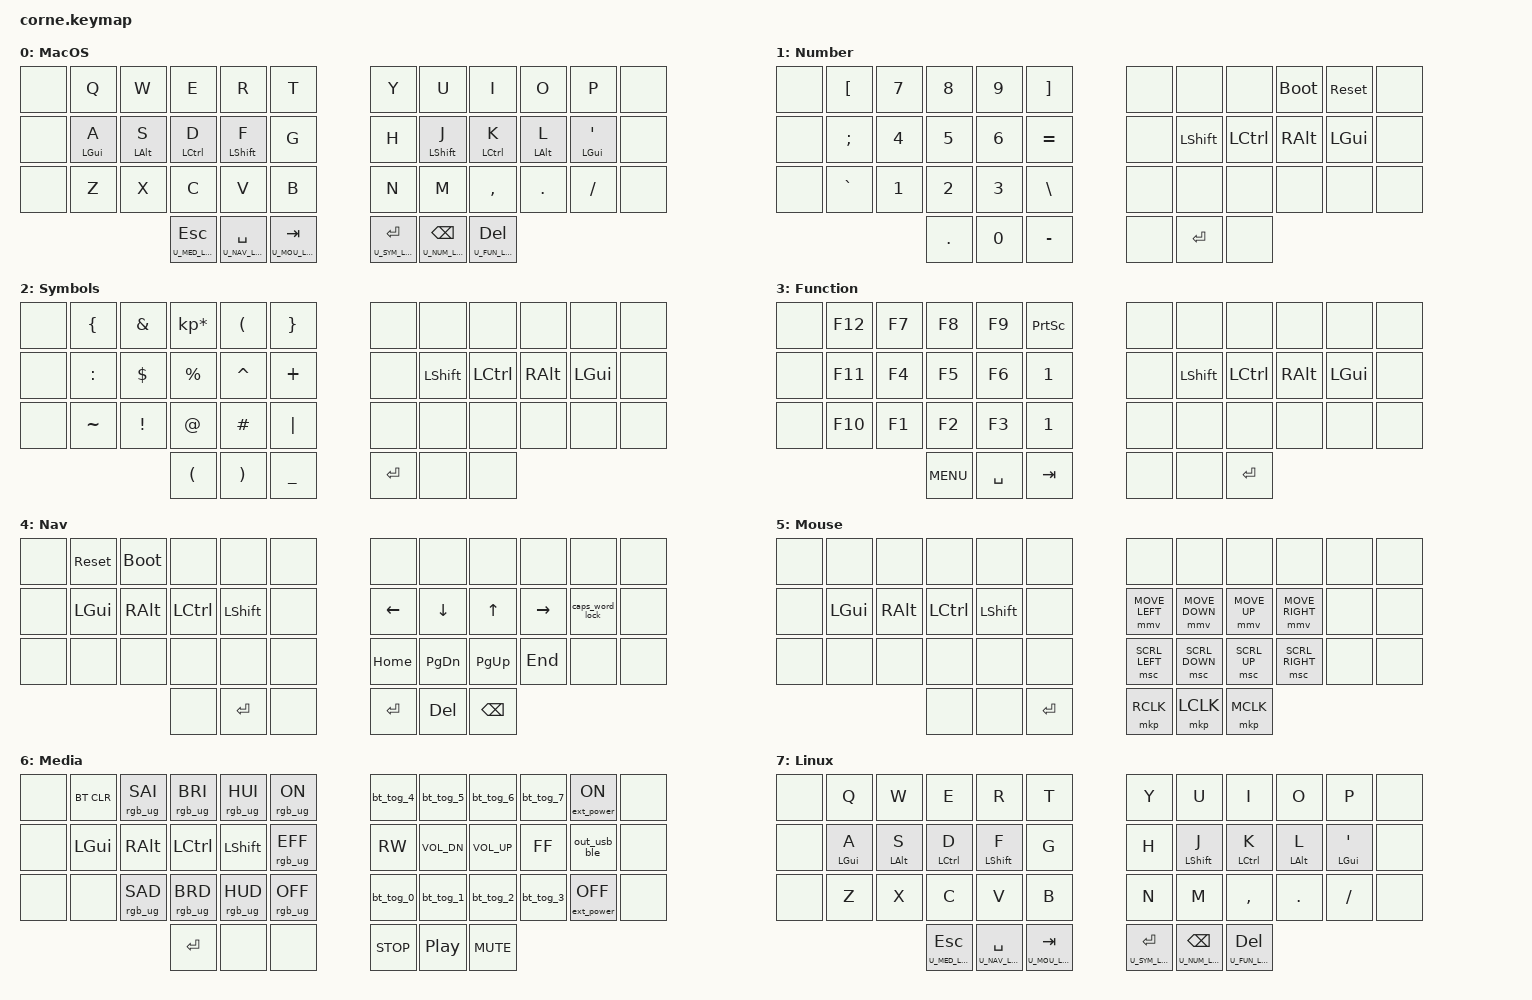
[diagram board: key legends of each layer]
/*
 * Copyright (c) 2020 The ZMK Contributors
 *
 * SPDX-License-Identifier: MIT
 */

#include <behaviors.dtsi>
#include <dt-bindings/zmk/keys.h>
#include <dt-bindings/zmk/bt.h>
#include <dt-bindings/zmk/backlight.h>

#define ZMK_POINTING_DEFAULT_MOVE_VAL 1500
#define ZMK_POINTING_DEFAULT_SCRL_VAL 20

#include <dt-bindings/zmk/pointing.h>
#include <dt-bindings/zmk/outputs.h>
#include <dt-bindings/zmk/ext_power.h>
#include <dt-bindings/zmk/rgb.h>

&led_strip {
    chain-length = <27>;
};

#define U_BAS_LAYER 0
#define U_NUM_LAYER 1
#define U_SYM_LAYER 2
#define U_FUN_LAYER 3
#define U_NAV_LAYER 4
#define U_MOU_LAYER 5
#define U_MED_LAYER 6
#define U_LINUX_LAYER 7

/ {
    behaviors {
        bt_tog_0: bt_tog_0 {
            compatible = "zmk,behavior-mod-morph";
            #binding-cells = <0>;
            bindings = <&bt BT_SEL 0>, <&bt BT_DISC 0>;
            mods = <(MOD_LSFT|MOD_RSFT)>;
        };
        bt_tog_1: bt_tog_1 {
            compatible = "zmk,behavior-mod-morph";
            #binding-cells = <0>;
            bindings = <&bt BT_SEL 1>, <&bt BT_DISC 1>;
            mods = <(MOD_LSFT|MOD_RSFT)>;
        };
        bt_tog_2: bt_tog_2 {
            compatible = "zmk,behavior-mod-morph";
            #binding-cells = <0>;
            bindings = <&bt BT_SEL 2>, <&bt BT_DISC 2>;
            mods = <(MOD_LSFT|MOD_RSFT)>;
        };
        bt_tog_3: bt_tog_3 {
            compatible = "zmk,behavior-mod-morph";
            #binding-cells = <0>;
            bindings = <&bt BT_SEL 3>, <&bt BT_DISC 3>;
            mods = <(MOD_LSFT|MOD_RSFT)>;
        };
        bt_tog_4: bt_tog_4 {
            compatible = "zmk,behavior-mod-morph";
            #binding-cells = <0>;
            bindings = <&bt BT_SEL 4>, <&bt BT_DISC 4>;
            mods = <(MOD_LSFT|MOD_RSFT)>;
        };
        bt_tog_5: bt_tog_5 {
            compatible = "zmk,behavior-mod-morph";
            #binding-cells = <0>;
            bindings = <&bt BT_SEL 5>, <&bt BT_DISC 5>;
            mods = <(MOD_LSFT|MOD_RSFT)>;
        };
        bt_tog_6: bt_tog_6 {
            compatible = "zmk,behavior-mod-morph";
            #binding-cells = <0>;
            bindings = <&bt BT_SEL 6>, <&bt BT_DISC 6>;
            mods = <(MOD_LSFT|MOD_RSFT)>;
        };
        bt_tog_7: bt_tog_7 {
            compatible = "zmk,behavior-mod-morph";
            #binding-cells = <0>;
            bindings = <&bt BT_SEL 7>, <&bt BT_DISC 7>;
            mods = <(MOD_LSFT|MOD_RSFT)>;
        };
        bt_tog_8: bt_tog_8 {
            compatible = "zmk,behavior-mod-morph";
            #binding-cells = <0>;
            bindings = <&bt BT_SEL 8>, <&bt BT_DISC 8>;
            mods = <(MOD_LSFT|MOD_RSFT)>;
        };
        caps_word_lock: caps_word_lock {
            compatible = "zmk,behavior-mod-morph";
            #binding-cells = <0>;
            bindings = <&caps_word>, <&kp CAPSLOCK>;
            mods = <(MOD_LSFT|MOD_RSFT)>;
        };
        undo_redo: undo_redo {
            compatible = "zmk,behavior-mod-morph";
            #binding-cells = <0>;
            bindings = <&kp K_UNDO>, <&kp K_REDO>;
            mods = <(MOD_LSFT|MOD_RSFT)>;
        };
        copy_cut_mac: copy_cut_mac {
            compatible = "zmk,behavior-mod-morph";
            #binding-cells = <0>;
            bindings = <&kp LG(C)>, <&kp LG(X)>;
            mods = <(MOD_LSFT|MOD_RSFT)>;
        };
        copy_cut_linux: copy_cut_linux {
            compatible = "zmk,behavior-mod-morph";
            #binding-cells = <0>;
            bindings = <&kp LC(C)>, <&kp LC(X)>;
            mods = <(MOD_LSFT|MOD_RSFT)>;
        };
        out_usb_ble: out_usb_ble {
            compatible = "zmk,behavior-mod-morph";
            #binding-cells = <0>;
            bindings = <&out OUT_USB>, <&out OUT_BLE>;
            mods = <(MOD_LSFT|MOD_RSFT)>;
        };
        // https://www.reddit.com/r/olkb/comments/zdzwoh/how_to_do_modtap_in_zmk_except_for_one_thing/
        hm: homerow-mods {
            compatible = "zmk,behavior-hold-tap";
            #binding-cells = <2>;
            tapping-term-ms = <175>; // how long before a hold is registered
            flavor = "tap-preferred"; // ONLY activate hold after tapping-term-ms has passed, else always a tap
            quick-tap-ms = <125>; // if a tap was triggered on a hold-tap this many seconds before, then the tap is always gonna be triggered in the next tap-hold key
            bindings = <&kp>, <&kp>; 
        };
    };
};

/ {
    combos {
        compatible = "zmk,combos";
        /* combo_undo_redo { */
        /*     layers = <U_BAS_LAYER>; */
        /*     timeout-ms = <50>; */
        /*     key-positions = <2 3>; */
        /*     bindings = <&undo_redo>; */
        /* }; */
        combo_esc {
            layers = <U_BAS_LAYER>;
            timeout-ms = <50>;
            key-positions = <37 38>;
            bindings = <&lt U_MED_LAYER ESC>;
        };
        combo_hmr_esc {
            layers = <U_BAS_LAYER>;
            timeout-ms = <50>;
            key-positions = <19 20>;
            bindings = <&kp ESC>;
        };
        combo_hmr_repeat {
            layers = <U_BAS_LAYER>;
            timeout-ms = <50>;
            key-positions = <20 21>;
            bindings = <&key_repeat>;
        };
        combo_os_toggle {
            timeout-ms = <50>;
            key-positions = <1 10>; // q+p
            bindings = <&tog U_LINUX_LAYER>;
        };
        combo_hmr_capslock {
            layers = <U_BAS_LAYER>;
            timeout-ms = <50>;
            key-positions = <15 16>; // d+f
            bindings = <&kp CAPSLOCK>;
        };
        combo_hmr_copy_cut_mac {
            layers = <U_BAS_LAYER>;
            timeout-ms = <50>;
            key-positions = <14 15>; // s+d
            bindings = <&copy_cut_mac>;
        };
        combo_hmr_copy_cut_linux {
            layers = <U_LINUX_LAYER>;
            timeout-ms = <50>;
            key-positions = <14 15>; // s+d
            bindings = <&copy_cut_linux>;
        };
        combo_hmr_paste_mac {
            layers = <U_BAS_LAYER>;
            timeout-ms = <50>;
            key-positions = <2 3>; // w+e
            bindings = <&kp LG(V)>;
        };
        combo_hmr_paste_linux {
            layers = <U_LINUX_LAYER>;
            timeout-ms = <50>;
            key-positions = <2 3>; // w+e
            bindings = <&kp LC(V)>;
        };
        combo_delete {
            layers = <U_BAS_LAYER>;
            timeout-ms = <50>;
            key-positions = <39 40>;
            bindings = <&lt U_FUN_LAYER DEL>;
        };
        combo_mclck {
            layers = <U_MOU_LAYER>;
            timeout-ms = <50>;
            key-positions = <39 40>;
            bindings = <&mkp MCLK>;
        };
        combo_stop {
            layers = <U_MED_LAYER>;
            timeout-ms = <50>;
            key-positions = <39 40>;
            bindings = <&kp C_MUTE>;
        };
    };
};

// https://zmk.dev/docs/config/behaviors#two-axis-input
&mmv {
  acceleration-exponent = <1>;
  time-to-max-speed-ms = <300>;
  delay-ms = <0>;
};

&msc {
  acceleration-exponent = <0>;
  time-to-max-speed-ms = <300>;
  delay-ms = <0>;
};

// keyboard drawings format: https://github.com/kagoromo/zmk-config/blob/master/config/base.keymap
/ {
        keymap {
                compatible = "zmk,keymap";

                default_layer {
                  display-name = "MacOS";
                        bindings = <
//    ┌───────┬────────────┬────────────┬─────────────┬─────────────────────┬───────────────────────┐                                               ┌──────────────────────┬─────────────────────┬─────────────┬────────────┬──────────────┬───────┐
//    │ &none │   &kp Q    │   &kp W    │    &kp E    │        &kp R        │         &kp T         │                                               │        &kp Y         │        &kp U        │    &kp I    │   &kp O    │    &kp P     │ &none │
//    ├───────┼────────────┼────────────┼─────────────┼─────────────────────┼───────────────────────┤                                               ├──────────────────────┼─────────────────────┼─────────────┼────────────┼──────────────┼───────┤
//    │ &none │ &hm LGUI A │ &hm LALT S │ &hm LCTRL D │     &hm LSHFT F     │         &kp G         │                                               │        &kp H         │     &hm LSHFT J     │ &hm LCTRL K │ &hm LALT L │ &hm LGUI SQT │ &none │
//    ├───────┼────────────┼────────────┼─────────────┼─────────────────────┼───────────────────────┤                                               ├──────────────────────┼─────────────────────┼─────────────┼────────────┼──────────────┼───────┤
//    │ &none │   &kp Z    │   &kp X    │    &kp C    │        &kp V        │         &kp B         │                                               │        &kp N         │        &kp M        │  &kp COMMA  │  &kp DOT   │   &kp FSLH   │ &none │
//    └───────┴────────────┴────────────┴─────────────┼─────────────────────┼───────────────────────┼─────────────────────┐   ┌─────────────────────┼──────────────────────┼─────────────────────┼─────────────┴────────────┴──────────────┴───────┘
//                                                    │ &lt U_MED_LAYER ESC │ &lt U_NAV_LAYER SPACE │ &lt U_MOU_LAYER TAB │   │ &lt U_SYM_LAYER RET │ &lt U_NUM_LAYER BSPC │ &lt U_FUN_LAYER DEL │                                                  
//                                                    └─────────────────────┴───────────────────────┴─────────────────────┘   └─────────────────────┴──────────────────────┴─────────────────────┘                                                  
  &none   &kp Q        &kp W        &kp E         &kp R                 &kp T                                                                   &kp Y                  &kp U                 &kp I         &kp O        &kp P          &none
  &none   &hm LGUI A   &hm LALT S   &hm LCTRL D   &hm LSHFT F           &kp G                                                                   &kp H                  &hm LSHFT J           &hm LCTRL K   &hm LALT L   &hm LGUI SQT   &none
  &none   &kp Z        &kp X        &kp C         &kp V                 &kp B                                                                   &kp N                  &kp M                 &kp COMMA     &kp DOT      &kp FSLH       &none
                                                  &lt U_MED_LAYER ESC   &lt U_NAV_LAYER SPACE   &lt U_MOU_LAYER TAB       &lt U_SYM_LAYER RET   &lt U_NUM_LAYER BSPC   &lt U_FUN_LAYER DEL                                                  
                        >;
                };

                num_layer {
                  display-name = "Number";
                        bindings = <
//    ┌───────┬───────────┬────────┬────────┬─────────┬───────────┐                       ┌─────────┬───────────┬───────────┬─────────────┬────────────┬───────┐
//    │ &none │ &kp LBKT  │ &kp N7 │ &kp N8 │ &kp N9  │ &kp RBKT  │                       │  &none  │   &none   │   &none   │ &bootloader │ &sys_reset │ &none │
//    ├───────┼───────────┼────────┼────────┼─────────┼───────────┤                       ├─────────┼───────────┼───────────┼─────────────┼────────────┼───────┤
//    │ &none │ &kp SEMI  │ &kp N4 │ &kp N5 │ &kp N6  │ &kp EQUAL │                       │  &none  │ &kp LSHFT │ &kp LCTRL │  &kp RALT   │  &kp LGUI  │ &none │
//    ├───────┼───────────┼────────┼────────┼─────────┼───────────┤                       ├─────────┼───────────┼───────────┼─────────────┼────────────┼───────┤
//    │ &none │ &kp GRAVE │ &kp N1 │ &kp N2 │ &kp N3  │ &kp BSLH  │                       │  &none  │   &none   │   &none   │    &none    │   &none    │ &none │
//    └───────┴───────────┴────────┴────────┼─────────┼───────────┼───────────┐   ┌───────┼─────────┼───────────┼───────────┴─────────────┴────────────┴───────┘
//                                          │ &kp DOT │  &kp N0   │ &kp MINUS │   │ &none │ &kp RET │   &none   │                                               
//                                          └─────────┴───────────┴───────────┘   └───────┴─────────┴───────────┘                                               
  &none   &kp LBKT    &kp N7   &kp N8   &kp N9    &kp RBKT                            &none     &none       &none       &bootloader   &sys_reset   &none
  &none   &kp SEMI    &kp N4   &kp N5   &kp N6    &kp EQUAL                           &none     &kp LSHFT   &kp LCTRL   &kp RALT      &kp LGUI     &none
  &none   &kp GRAVE   &kp N1   &kp N2   &kp N3    &kp BSLH                            &none     &none       &none       &none         &none        &none
                                        &kp DOT   &kp N0      &kp MINUS       &none   &kp RET   &none                                                   
                        >;
                };

                sym_layer {
                  display-name = "Symbols";
                        bindings = <
//    ┌───────┬───────────┬──────────┬─────────────────┬───────────┬──────────┐                         ┌───────┬───────────┬───────────┬──────────┬──────────┬───────┐
//    │ &none │ &kp LBRC  │ &kp AMPS │ &kp KP_MULTIPLY │ &kp LPAR  │ &kp RBRC │                         │ &none │   &none   │   &none   │  &none   │  &none   │ &none │
//    ├───────┼───────────┼──────────┼─────────────────┼───────────┼──────────┤                         ├───────┼───────────┼───────────┼──────────┼──────────┼───────┤
//    │ &none │ &kp COLON │ &kp DLLR │    &kp PRCNT    │ &kp CARET │ &kp PLUS │                         │ &none │ &kp LSHFT │ &kp LCTRL │ &kp RALT │ &kp LGUI │ &none │
//    ├───────┼───────────┼──────────┼─────────────────┼───────────┼──────────┤                         ├───────┼───────────┼───────────┼──────────┼──────────┼───────┤
//    │ &none │ &kp TILDE │ &kp EXCL │     &kp AT      │ &kp HASH  │ &kp PIPE │                         │ &none │   &none   │   &none   │  &none   │  &none   │ &none │
//    └───────┴───────────┴──────────┴─────────────────┼───────────┼──────────┼───────────┐   ┌─────────┼───────┼───────────┼───────────┴──────────┴──────────┴───────┘
//                                                     │ &kp LPAR  │ &kp RPAR │ &kp UNDER │   │ &kp RET │ &none │   &none   │                                          
//                                                     └───────────┴──────────┴───────────┘   └─────────┴───────┴───────────┘                                          
  &none   &kp LBRC    &kp AMPS   &kp KP_MULTIPLY   &kp LPAR    &kp RBRC                             &none   &none       &none       &none      &none      &none
  &none   &kp COLON   &kp DLLR   &kp PRCNT         &kp CARET   &kp PLUS                             &none   &kp LSHFT   &kp LCTRL   &kp RALT   &kp LGUI   &none
  &none   &kp TILDE   &kp EXCL   &kp AT            &kp HASH    &kp PIPE                             &none   &none       &none       &none      &none      &none
                                                   &kp LPAR    &kp RPAR   &kp UNDER       &kp RET   &none   &none                                              
                        >;
                };

                fun_layer {
                  display-name = "Function";
                        bindings = <
//    ┌───────┬─────────┬────────┬────────┬──────────┬─────────────────┐                     ┌───────┬───────────┬───────────┬──────────┬──────────┬───────┐
//    │ &none │ &kp F12 │ &kp F7 │ &kp F8 │  &kp F9  │ &kp printscreen │                     │ &none │   &none   │   &none   │  &none   │  &none   │ &none │
//    ├───────┼─────────┼────────┼────────┼──────────┼─────────────────┤                     ├───────┼───────────┼───────────┼──────────┼──────────┼───────┤
//    │ &none │ &kp F11 │ &kp F4 │ &kp F5 │  &kp F6  │     &kp N1      │                     │ &none │ &kp LSHFT │ &kp LCTRL │ &kp RALT │ &kp LGUI │ &none │
//    ├───────┼─────────┼────────┼────────┼──────────┼─────────────────┤                     ├───────┼───────────┼───────────┼──────────┼──────────┼───────┤
//    │ &none │ &kp F10 │ &kp F1 │ &kp F2 │  &kp F3  │     &kp N1      │                     │ &none │   &none   │   &none   │  &none   │  &none   │ &none │
//    └───────┴─────────┴────────┴────────┼──────────┼─────────────────┼─────────┐   ┌───────┼───────┼───────────┼───────────┴──────────┴──────────┴───────┘
//                                        │ &kp menu │    &kp SPACE    │ &kp TAB │   │ &none │ &none │  &kp RET  │                                          
//                                        └──────────┴─────────────────┴─────────┘   └───────┴───────┴───────────┘                                          
  &none   &kp F12   &kp F7   &kp F8   &kp F9     &kp PSCRN                         &none   &none       &none       &none      &none      &none
  &none   &kp F11   &kp F4   &kp F5   &kp F6     &kp N1                                  &none   &kp LSHFT   &kp LCTRL   &kp RALT   &kp LGUI   &none
  &none   &kp F10   &kp F1   &kp F2   &kp F3     &kp N1                                  &none   &none       &none       &none      &none      &none
                                      &kp K_MENU   &kp SPACE         &kp TAB       &none   &none   &kp RET                                            
                        >;
                };

                nav_layer {
                  display-name = "Nav";
                        bindings = <
//    ┌───────┬────────────┬─────────────┬───────────┬───────────┬─────────┐                     ┌────────────┬───────────────┬───────────┬───────────┬─────────────────┬───────┐
//    │ &none │ &sys_reset │ &bootloader │   &none   │   &none   │  &none  │                     │   &none    │     &none     │   &none   │   &none   │      &none      │ &none │
//    ├───────┼────────────┼─────────────┼───────────┼───────────┼─────────┤                     ├────────────┼───────────────┼───────────┼───────────┼─────────────────┼───────┤
//    │ &none │  &kp LGUI  │  &kp RALT   │ &kp LCTRL │ &kp LSHFT │  &none  │                     │  &kp LEFT  │   &kp DOWN    │  &kp UP   │ &kp RIGHT │ &caps_word_lock │ &none │
//    ├───────┼────────────┼─────────────┼───────────┼───────────┼─────────┤                     ├────────────┼───────────────┼───────────┼───────────┼─────────────────┼───────┤
//    │ &none │   &none    │    &none    │   &none   │   &none   │  &none  │                     │  &kp HOME  │   &kp PG_DN   │ &kp PG_UP │  &kp END  │      &none      │ &none │
//    └───────┴────────────┴─────────────┴───────────┼───────────┼─────────┼───────┐   ┌─────────┼────────────┼───────────────┼───────────┴───────────┴─────────────────┴───────┘
//                                                   │   &none   │ &kp RET │ &none │   │ &kp RET │ &kp DELETE │ &kp BACKSPACE │                                                  
//                                                   └───────────┴─────────┴───────┘   └─────────┴────────────┴───────────────┘                                                  
  &none   &sys_reset   &bootloader   &none       &none       &none                           &none        &none           &none       &none       &none             &none
  &none   &kp LGUI     &kp RALT      &kp LCTRL   &kp LSHFT   &none                           &kp LEFT     &kp DOWN        &kp UP      &kp RIGHT   &caps_word_lock   &none
  &none   &none        &none         &none       &none       &none                           &kp HOME     &kp PG_DN       &kp PG_UP   &kp END     &none             &none
                                                 &none       &kp RET   &none       &kp RET   &kp DELETE   &kp BACKSPACE                                                  
                        >;
                };

                mouse_layer {
                  display-name = "Mouse";
                        bindings = <
//    ┌───────┬──────────┬──────────┬───────────┬───────────┬───────┐                         ┌────────────────┬────────────────┬──────────────┬─────────────────┬───────┬───────┐
//    │ &none │  &none   │  &none   │   &none   │   &none   │ &none │                         │     &none      │     &none      │    &none     │      &none      │ &none │ &none │
//    ├───────┼──────────┼──────────┼───────────┼───────────┼───────┤                         ├────────────────┼────────────────┼──────────────┼─────────────────┼───────┼───────┤
//    │ &none │ &kp LGUI │ &kp RALT │ &kp LCTRL │ &kp LSHFT │ &none │                         │ &mmv MOVE_LEFT │ &mmv MOVE_DOWN │ &mmv MOVE_UP │ &mmv MOVE_RIGHT │ &none │ &none │
//    ├───────┼──────────┼──────────┼───────────┼───────────┼───────┤                         ├────────────────┼────────────────┼──────────────┼─────────────────┼───────┼───────┤
//    │ &none │  &none   │  &none   │   &none   │   &none   │ &none │                         │ &msc SCRL_LEFT │ &msc SCRL_DOWN │ &msc SCRL_UP │ &msc SCRL_RIGHT │ &none │ &none │
//    └───────┴──────────┴──────────┴───────────┼───────────┼───────┼─────────┐   ┌───────────┼────────────────┼────────────────┼──────────────┴─────────────────┴───────┴───────┘
//                                              │   &none   │ &none │ &kp RET │   │ &mkp RCLK │   &mkp LCLK    │   &mkp MCLK    │                                                 
//                                              └───────────┴───────┴─────────┘   └───────────┴────────────────┴────────────────┘                                                 
  &none   &none      &none      &none       &none       &none                             &none            &none            &none          &none             &none   &none
  &none   &kp LGUI   &kp RALT   &kp LCTRL   &kp LSHFT   &none                             &mmv MOVE_LEFT   &mmv MOVE_DOWN   &mmv MOVE_UP   &mmv MOVE_RIGHT   &none   &none
  &none   &none      &none      &none       &none       &none                             &msc SCRL_LEFT   &msc SCRL_DOWN   &msc SCRL_UP   &msc SCRL_RIGHT   &none   &none
                                            &none       &none   &kp RET       &mkp RCLK   &mkp LCLK        &mkp MCLK                                                      
                        >;
                };

                media_layer {
                  display-name = "Media";
                        bindings = <
//    ┌───────┬────────────┬─────────────────┬─────────────────┬─────────────────┬─────────────────┐                        ┌──────────────────┬──────────────┬──────────────┬───────────┬───────────────────┬───────┐
//    │ &none │ &bt BT_CLR │ &rgb_ug RGB_SAI │ &rgb_ug RGB_BRI │ &rgb_ug RGB_HUI │ &rgb_ug RGB_ON  │                        │    &bt_tog_4     │  &bt_tog_5   │  &bt_tog_6   │ &bt_tog_7 │ &ext_power EP_ON  │ &none │
//    ├───────┼────────────┼─────────────────┼─────────────────┼─────────────────┼─────────────────┤                        ├──────────────────┼──────────────┼──────────────┼───────────┼───────────────────┼───────┤
//    │ &none │  &kp LGUI  │    &kp RALT     │    &kp LCTRL    │    &kp LSHFT    │ &rgb_ug RGB_EFF │                        │     &kp C_RW     │ &kp C_VOL_DN │ &kp C_VOL_UP │ &kp C_FF  │   &out OUT_TOG    │ &none │
//    ├───────┼────────────┼─────────────────┼─────────────────┼─────────────────┼─────────────────┤                        ├──────────────────┼──────────────┼──────────────┼───────────┼───────────────────┼───────┤
//    │ &none │   &none    │ &rgb_ug RGB_SAD │ &rgb_ug RGB_BRD │ &rgb_ug RGB_HUD │ &rgb_ug RGB_OFF │                        │    &bt_tog_0     │  &bt_tog_1   │  &bt_tog_2   │ &bt_tog_3 │ &ext_power EP_OFF │ &none │
//    └───────┴────────────┴─────────────────┴─────────────────┼─────────────────┼─────────────────┼───────┐   ┌────────────┼──────────────────┼──────────────┼──────────────┴───────────┴───────────────────┴───────┘
//                                                             │     &kp RET     │      &none      │ &none │   │ &kp C_STOP │ &kp C_PLAY_PAUSE │  &kp C_MUTE  │                                                       
//                                                             └─────────────────┴─────────────────┴───────┘   └────────────┴──────────────────┴──────────────┘                                                       
  &none   &bt BT_CLR   &rgb_ug RGB_SAI   &rgb_ug RGB_BRI   &rgb_ug RGB_HUI   &rgb_ug RGB_ON                             &bt_tog_4          &bt_tog_5      &bt_tog_6      &bt_tog_7   &ext_power EP_ON    &none
  &none   &kp LGUI     &kp RALT          &kp LCTRL         &kp LSHFT         &rgb_ug RGB_EFF                            &kp C_RW           &kp C_VOL_DN   &kp C_VOL_UP   &kp C_FF    &out_usb_ble        &none
  &none   &none        &rgb_ug RGB_SAD   &rgb_ug RGB_BRD   &rgb_ug RGB_HUD   &rgb_ug RGB_OFF                            &bt_tog_0          &bt_tog_1      &bt_tog_2      &bt_tog_3   &ext_power EP_OFF   &none
                                                           &kp RET           &none             &none       &kp C_STOP   &kp C_PLAY_PAUSE   &kp C_MUTE                                                         
                        >;
                };

                linux_layer {
                  display-name = "Linux";
                        bindings = <
//    ┌───────┬────────────┬────────────┬─────────────┬─────────────────────┬───────────────────────┐                                               ┌──────────────────────┬─────────────────────┬─────────────┬────────────┬──────────────┬───────┐
//    │ &none │   &kp Q    │   &kp W    │    &kp E    │        &kp R        │         &kp T         │                                               │        &kp Y         │        &kp U        │    &kp I    │   &kp O    │    &kp P     │ &none │
//    ├───────┼────────────┼────────────┼─────────────┼─────────────────────┼───────────────────────┤                                               ├──────────────────────┼─────────────────────┼─────────────┼────────────┼──────────────┼───────┤
//    │ &none │ &hm LGUI A │ &hm LALT S │ &hm LCTRL D │     &hm LSHFT F     │         &kp G         │                                               │        &kp H         │     &hm LSHFT J     │ &hm LCTRL K │ &hm LALT L │ &hm LGUI SQT │ &none │
//    ├───────┼────────────┼────────────┼─────────────┼─────────────────────┼───────────────────────┤                                               ├──────────────────────┼─────────────────────┼─────────────┼────────────┼──────────────┼───────┤
//    │ &none │   &kp Z    │   &kp X    │    &kp C    │        &kp V        │         &kp B         │                                               │        &kp N         │        &kp M        │  &kp COMMA  │  &kp DOT   │   &kp FSLH   │ &none │
//    └───────┴────────────┴────────────┴─────────────┼─────────────────────┼───────────────────────┼─────────────────────┐   ┌─────────────────────┼──────────────────────┼─────────────────────┼─────────────┴────────────┴──────────────┴───────┘
//                                                    │ &lt U_MED_LAYER ESC │ &lt U_NAV_LAYER SPACE │ &lt U_MOU_LAYER TAB │   │ &lt U_SYM_LAYER RET │ &lt U_NUM_LAYER BSPC │ &lt U_FUN_LAYER DEL │                                                  
//                                                    └─────────────────────┴───────────────────────┴─────────────────────┘   └─────────────────────┴──────────────────────┴─────────────────────┘                                                  
  &none   &kp Q        &kp W        &kp E         &kp R                 &kp T                                                                   &kp Y                  &kp U                 &kp I         &kp O        &kp P          &none
  &none   &hm LGUI A   &hm LALT S   &hm LCTRL D   &hm LSHFT F           &kp G                                                                   &kp H                  &hm LSHFT J           &hm LCTRL K   &hm LALT L   &hm LGUI SQT   &none
  &none   &kp Z        &kp X        &kp C         &kp V                 &kp B                                                                   &kp N                  &kp M                 &kp COMMA     &kp DOT      &kp FSLH       &none
                                                  &lt U_MED_LAYER ESC   &lt U_NAV_LAYER SPACE   &lt U_MOU_LAYER TAB       &lt U_SYM_LAYER RET   &lt U_NUM_LAYER BSPC   &lt U_FUN_LAYER DEL                                                  
                        >;
                };

        };
};
